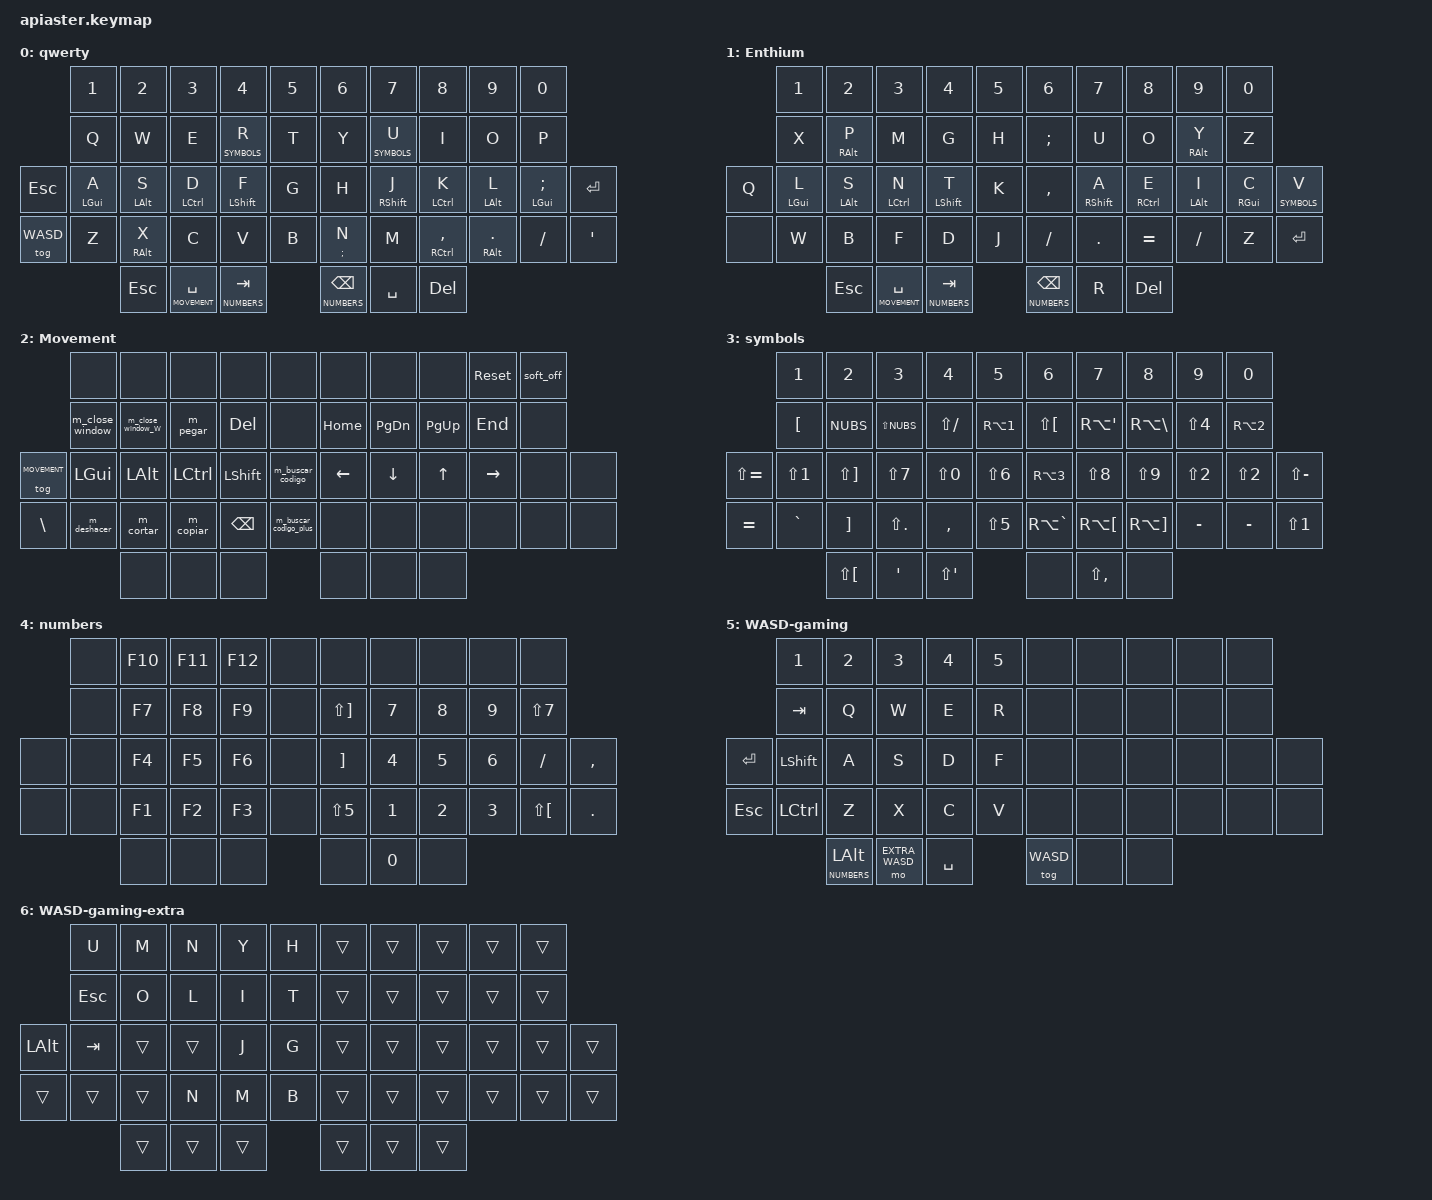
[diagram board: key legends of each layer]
#include <behaviors.dtsi>
#include <behaviors/rgbled_widget.dtsi>
#include <dt-bindings/zmk/keys.h>
#include <dt-bindings/zmk/bt.h>

/* Layers */
#define BASE          0
#define HANDSDOWN_NEU 1 //Promethium https://cyanophage.github.io/playground.html?layout=fpdlx%C3%B1uoybzsnthk%2Caeicqvwgmj-.%27%3D%2F%5Cr&mode=ergo&lan=spanish
#define MOVEMENT      2
#define SYMBOLS       3
#define NUMBERS       4
#define WASD          5
#define EXTRA_WASD    6

/* Layout */
//    0  1  2  3  4      5  6  7  8  9 
//   10 11 12 13 14     15 16 17 18 19 
//20 21 22 23 24 25     26 27 28 29 30 31 
//32 33 34 35 36 37     38 39 40 41 42 43
//         44 45 46     47 48 49

#define KEYS_L 0 1 2 3 4 10 11 12 13 14 20 21 22 23 24 25 32 33 34 35 36 37
#define KEYS_R 5 6 7 8 9 15 16 17 18 19 26 27 28 29 30 31 38 39 40 41 42 43
#define THUMBS_L 44 45 46
#define THUMBS_R 47 48 49



#define DEF_TEST(a) \
        <a>,

#define DEF_TEST_FFF(a) \
        <a>

//TODO hacer que todos los macros, combos, etc sean macros de C. Queda mas limpio y facil de leer
//#define COMBO_DEFAULT_TIMEOUT_ms         30
#define COMBO_DEFAULT_TIMEOUT_ms              30
#define COMBO_FAST_TIMEOUT_ms                100 	/* Tenemos 100ms para pulsar las teclas del combo */
#define COMBO_SLOW_TIMEOUT_ms                 50
#define COMBO_REQUIRE_PRIOR_IDLE_ms          200 	/* Han de pasar 200ms desde la ultima tecla para registrar el combo */
#define COMBO_FAST_REQUIRE_PRIOR_IDLE_ms     100
#define COMBO_SLOW_REQUIRE_PRIOR_IDLE_ms     300
#define COMBO(a, b, c, d, e, f)            \
        combo_##a {                        \
            timeout-ms            = <b>;   \
            key-positions         = <c>;   \
            layers                = <d>;   \
            bindings              = <e>;   \
            require-prior-idle-ms = <f>;   \
        };                                 \
/* fin macro */

#define MACRO(a, b, c)                         \
        macro_##a: macro_##a {                 \
            compatible = "zmk,behavior-macro"; \
            #binding-cells = <b>;              \
            bindings = c;                      \
        };                                     \
/* fin macro */

#define TAP_DANCE(NOMBRE, TAPPING_TERM_ms, A_BINDING, B_BINDING) \
        NOMBRE: tap_dance_##NOMBRE {                             \
            compatible = "zmk,behavior-tap-dance";               \
            #binding-cells = <0>;                                \
            tapping-term-ms = <TAPPING_TERM_ms>;                 \
            bindings = <&kp A_BINDING>, <&kp B_BINDING>;         \
        };                                                       \
/* fin macro */

// NOTA: para en la documentacion pone que hay que usar UNDERSCORE o el caracter que sea,
// pero eso es para el idioma INGLES. Como estamos trabajando en castellano, el caracter
// de barrabaja se escribe con el FSLH del ingles. Por lo tanto, para que funcione como
// queremos, tenemos que poner el caracter que corresponde en ingles.
&caps_word {
    continue-list = <FSLH LS(FSLH) BSPC DEL SQT>;
};

/ {    
    macros {
        //MACRO(change_language, 0, DEF_TEST(&macro_press &kp LGUI &kp SPACE) DEF_TEST_FFF(&macro_release &kp LGUI &kp SPACE))
        //MACRO(flecha_pointer, 0, DEF_TEST(&macro_press &kp FSLH) DEF_TEST(&macro_press &kp LS(NON_US_BACKSLASH)) DEF_TEST(&macro_release &kp FSLH)  DEF_TEST_FFF(&macro_release &kp LS(NON_US_BACKSLASH)))
        change_language: change_language {
            compatible = "zmk,behavior-macro";
            #binding-cells = <0>;
            bindings = <&macro_press   &kp LGUI &kp SPACE>,
                       <&macro_release &kp LGUI &kp SPACE>;
        };

        flecha_pointer: flecha_pointer {
            compatible = "zmk,behavior-macro";
            #binding-cells = <0>;
            bindings = <&macro_press   &kp FSLH >,
                       <&macro_release &kp FSLH >,
                       <&macro_press   &kp LS(NON_US_BACKSLASH) >,
		               <&macro_release &kp LS(NON_US_BACKSLASH) >;
        };
	
        m_copiar: m_copiar {
            compatible = "zmk,behavior-macro";
            #binding-cells = <0>;
            bindings = <&macro_press   &kp LCTRL >,
                       <&macro_press   &kp C >,
                       <&macro_release &kp LCTRL >,
		       <&macro_release &kp C >;
        };
	
        m_cortar: m_cortar {
            compatible = "zmk,behavior-macro";
            #binding-cells = <0>;
            bindings = <&macro_press   &kp LCTRL >,
                       <&macro_press   &kp X >,
                       <&macro_release &kp LCTRL >,
		       <&macro_release &kp X >;
        };

        m_pegar: m_pegar {
            compatible = "zmk,behavior-macro";
            #binding-cells = <0>;
            bindings = <&macro_press   &kp LCTRL >,
                       <&macro_press   &kp V >,
                       <&macro_release &kp LCTRL >,
		       <&macro_release &kp V >;
        };

        m_deshacer: m_deshacer {
            compatible = "zmk,behavior-macro";
            #binding-cells = <0>;
            bindings = <&macro_press   &kp LCTRL >,
                       <&macro_press   &kp Z >,
                       <&macro_release &kp LCTRL >,
		       <&macro_release &kp Z >;
        };

        m_buscar_codigo: m_buscar_codigo {
            compatible = "zmk,behavior-macro";
            #binding-cells = <0>;
            bindings = <&macro_press   &kp LCTRL >,
                       <&macro_press   &kp F >,
                       <&macro_release &kp LCTRL >,
					   <&macro_release &kp F >;
        };
		
        m_buscar_codigo_plus: m_buscar_codigo_plus {
            compatible = "zmk,behavior-macro";
            #binding-cells = <0>;
            bindings = <&macro_press   &kp LCTRL >,
                       <&macro_press   &kp LSHIFT >,
                       <&macro_press   &kp F >,
                       <&macro_release &kp LCTRL >,
                       <&macro_release &kp LSHIFT >,
					   <&macro_release &kp F >;
        };

        m_letras_que: m_letras_que {
            compatible = "zmk,behavior-macro";
            #binding-cells = <0>;
            bindings = <&macro_press   &kp Q >,
                       <&macro_release &kp Q >,
                       <&macro_press   &kp U >,
                       <&macro_release &kp U >,
                       <&macro_press   &kp E >,
		               <&macro_release &kp E >;
        };

        m_test_aaaaa: m_test_aaaaa {
            compatible = "zmk,behavior-macro";
            #binding-cells = <0>;
            bindings = <&macro_press   &kp Q >,
                       <&macro_release &kp Q >,
                       <&macro_press   &kp U >,
                       <&macro_release &kp U >;
        };

	m_tilde: m_tilde {
            compatible = "zmk,behavior-macro";
            #binding-cells = <0>;
            bindings = <&kp SQT >;
        };

	m_tilde_invertida: m_tilde_invertida {
            compatible = "zmk,behavior-macro";
            #binding-cells = <0>;
            bindings = <&kp LBKT >;
        };

	m_acento_circunflejo: m_acento_circunflejo {
            compatible = "zmk,behavior-macro";
            #binding-cells = <0>;
            bindings = <&kp LS(LBKT)>;
        };

        m_close_window: m_close_window {
            compatible = "zmk,behavior-macro";
            #binding-cells = <0>;
            bindings = <&macro_press   &kp LGUI >,
                       <&macro_press   &kp Q >,
                       <&macro_release &kp LGUI >,
		       <&macro_release &kp Q >;
        };

        m_close_window_W: m_close_window_W {
            compatible = "zmk,behavior-macro";
            #binding-cells = <0>;
            bindings = <&macro_press   &kp LCTRL >,
                       <&macro_press   &kp W >,
                       <&macro_release &kp LCTRL >,
		       <&macro_release &kp W >;
        };
    };
    
    ///////////////////////////////////////////////////////////////////////////////////////////////////////////////////////
    /////////////////////////////////////////////////////// COMBOS ////////////////////////////////////////////////////////
    ///////////////////////////////////////////////////////////////////////////////////////////////////////////////////////
    combos {
        compatible = "zmk,combos";
        COMBO(caps_words            , COMBO_DEFAULT_TIMEOUT_ms, 39 40 41, BASE HANDSDOWN_NEU, &caps_word        , COMBO_REQUIRE_PRIOR_IDLE_ms)
        COMBO(hands_down_as_base    , COMBO_DEFAULT_TIMEOUT_ms,    12 40, BASE HANDSDOWN_NEU, &tog HANDSDOWN_NEU, COMBO_REQUIRE_PRIOR_IDLE_ms)
        COMBO(change_language       , COMBO_DEFAULT_TIMEOUT_ms,      0 9, BASE HANDSDOWN_NEU, &change_language  , COMBO_REQUIRE_PRIOR_IDLE_ms)
        COMBO(punto_coma            , COMBO_FAST_TIMEOUT_ms,    23 28, BASE HANDSDOWN_NEU, &kp LS(COMMA)     , COMBO_REQUIRE_PRIOR_IDLE_ms)
        COMBO(flecha_prog           , COMBO_FAST_TIMEOUT_ms,    14 15, BASE HANDSDOWN_NEU, &flecha_pointer   , 200)
        COMBO(dos_puntos            , COMBO_FAST_TIMEOUT_ms,    24 27, BASE HANDSDOWN_NEU, &kp LS(DOT)       , COMBO_REQUIRE_PRIOR_IDLE_ms)
        COMBO(barra_baja            , COMBO_FAST_TIMEOUT_ms,    36 39, BASE HANDSDOWN_NEU, &kp LS(FSLH)      , COMBO_FAST_REQUIRE_PRIOR_IDLE_ms)
        COMBO(igual                 , COMBO_FAST_TIMEOUT_ms,    25 26, BASE HANDSDOWN_NEU, &kp LS(N0)        , COMBO_REQUIRE_PRIOR_IDLE_ms)
        COMBO(apertura_pregunta     , COMBO_DEFAULT_TIMEOUT_ms,    13 14, BASE HANDSDOWN_NEU, &kp LS(EQUAL)     , COMBO_REQUIRE_PRIOR_IDLE_ms)
        COMBO(apertura_exclama      , COMBO_DEFAULT_TIMEOUT_ms,    36 37, BASE HANDSDOWN_NEU, &kp EQUAL         , COMBO_REQUIRE_PRIOR_IDLE_ms)
        COMBO(cierre_pregunta       , COMBO_DEFAULT_TIMEOUT_ms,    15 16, BASE HANDSDOWN_NEU, &kp LS(MINUS)     , COMBO_REQUIRE_PRIOR_IDLE_ms)
        COMBO(cierre_exclama        , COMBO_DEFAULT_TIMEOUT_ms,    38 39, BASE HANDSDOWN_NEU, &kp LS(N1)        , COMBO_REQUIRE_PRIOR_IDLE_ms)
        COMBO(copy                  , COMBO_DEFAULT_TIMEOUT_ms,    34 35, BASE HANDSDOWN_NEU, &m_copiar         , COMBO_REQUIRE_PRIOR_IDLE_ms)
        COMBO(cut                   , COMBO_DEFAULT_TIMEOUT_ms,    33 34, BASE HANDSDOWN_NEU, &m_cortar         , COMBO_REQUIRE_PRIOR_IDLE_ms)
        COMBO(paste                 , COMBO_DEFAULT_TIMEOUT_ms,    11 12, BASE HANDSDOWN_NEU, &m_pegar          , COMBO_REQUIRE_PRIOR_IDLE_ms)
        COMBO(contra_barra          , COMBO_DEFAULT_TIMEOUT_ms,    23 24,            SYMBOLS, &kp RA(GRAVE)     , COMBO_REQUIRE_PRIOR_IDLE_ms)

        /////////////////////////////
        // COMBOS QWERTY
        /////////////////////////////
        COMBO(print_screen              , COMBO_DEFAULT_TIMEOUT_ms,   8 9, BASE, &kp PRINTSCREEN      , COMBO_REQUIRE_PRIOR_IDLE_ms)
        COMBO(qwerty_tilde              , 50, 17 18, BASE, &m_tilde  	        , COMBO_REQUIRE_PRIOR_IDLE_ms)
        //COMBO(qwerty_tilde_2            , 50, 40 41, BASE, &m_tilde  	        )
        COMBO(qwerty_tilde_invertida    , 50, 40 41, BASE, &m_tilde_invertida   , COMBO_REQUIRE_PRIOR_IDLE_ms)
        COMBO(qwerty_acento_circunflejo , 50, 16 17, BASE, &m_acento_circunflejo, COMBO_REQUIRE_PRIOR_IDLE_ms)
        //COMBO(qwerty_q,      50,    11 12, BASE, &kp Q)
        //COMBO(qwerty_copiar, 50,    12 13, BASE, &m_copiar)
        //COMBO(qwerty_cortar, 50,    13 14, BASE, &m_cortar)
        //COMBO(qwerty_pegar,  50,    11 12, BASE, &m_pegar)

        /////////////////////////////
        // COMBOS HANDS DOWN VIBRANIUM
        /////////////////////////////
        COMBO(handsdown_Q                  , 50, 11 12, HANDSDOWN_NEU     , &kp Z 		 , COMBO_REQUIRE_PRIOR_IDLE_ms)
        COMBO(handsdown_B                  , 50, 16 17, HANDSDOWN_NEU     , &kp B 		 , COMBO_REQUIRE_PRIOR_IDLE_ms)
        //COMBO(handsdown_Qu                 , 50, 12 13, HANDSDOWN_NEU     , &qu_hold_tap Q 0     )
        COMBO(handsdown_Z                  , 50, 11 13, HANDSDOWN_NEU     , &kp Q    	 	 , COMBO_REQUIRE_PRIOR_IDLE_ms)
        //COMBO(handsdown_tilde              , 50, 27 28, BASE HANDSDOWN_NEU, &m_tilde  	         )
        //COMBO(handsdown_tilde_invertida    , 50, 28 29, BASE HANDSDOWN_NEU, &m_tilde_invertida   )
        //COMBO(handsdown_acento_circunflejo , 50, 27 29, BASE HANDSDOWN_NEU, &m_acento_circunflejo)

        /////////////////////////////
        // COMBOS SYMBOL LAYER
        /////////////////////////////
        COMBO(symb_asterisco               , 50, 16 17, SYMBOLS            , &kp LS(RIGHT_BRACKET), COMBO_REQUIRE_PRIOR_IDLE_ms)

        COMBO(symb_contrabarra             , 50, 26 27, SYMBOLS            , &kp RA(GRAVE)        , COMBO_REQUIRE_PRIOR_IDLE_ms)
        COMBO(symb_cierre_parentesis       , 50, 27 28, SYMBOLS            , &kp LS(N9)           , COMBO_REQUIRE_PRIOR_IDLE_ms)
        COMBO(symb_cierre_corchete         , 50, 28 29, SYMBOLS            , &kp RA(RIGHT_BRACKET), COMBO_REQUIRE_PRIOR_IDLE_ms)
        COMBO(symb_cierre_curly_corchete   , 50, 27 29, SYMBOLS            , &kp RA(BACKSLASH)    , COMBO_REQUIRE_PRIOR_IDLE_ms)

        COMBO(symb_comillas_dobles         , 50, 39 40, SYMBOLS            , &kp LS(N2)           , COMBO_REQUIRE_PRIOR_IDLE_ms)



    /* Layout */
    //    0  1  2  3  4      5  6  7  8  9 
    //   10 11 12 13 14     15 16 17 18 19 
    //20 21 22 23 24 25     26 27 28 29 30 31 
    //32 33 34 35 36 37     38 39 40 41 42 43
    //         44 45 46     47 48 49
    };

    behaviors {
        td_layer_toggle: hold_tap_layer_toggle {
            compatible = "zmk,behavior-tap-dance";
            #binding-cells = <0>;
            tapping-term-ms = <150>;
            bindings = <&kp Q>, <&tog 3>;
        };

        hl: home_row_hold_tap_left {
            compatible = "zmk,behavior-hold-tap";
            #binding-cells = <2>;
            flavor = "balanced";
            tapping-term-ms = <200>;
            quick-tap-ms = <175>;                // repeat on tap-into-hold
            require-prior-idle-ms = <100>;
            bindings = <&kp>, <&kp>;
            hold-trigger-key-positions = <KEYS_R THUMBS_R>;
            hold-trigger-on-release;             // delay positional check until key-release
        };

        hr: home_row_hold_tap_right {
            compatible = "zmk,behavior-hold-tap";
            #binding-cells = <2>;
            flavor = "balanced";
            tapping-term-ms = <200>;
            quick-tap-ms = <175>;                // repeat on tap-into-hold
            require-prior-idle-ms = <100>;
            bindings = <&kp>, <&kp>;
            hold-trigger-key-positions = <KEYS_L THUMBS_L>;
            hold-trigger-on-release;             // delay positional check until key-release
        };

        lt: layer_tap {
            compatible      = "zmk,behavior-hold-tap";
            #binding-cells  = <2>;
            flavor          = "balanced";
            tapping-term-ms = <200>;
            quick-tap-ms    = <175>;       // Hace que si hacemos un dos taps y dejamos pulsado, se utilice la tecla normal y no el cambio de capa
            bindings        = <&mo>, <&kp>;
            display-name    = "Layer-Tap";
        };

        tog_on: toggle_layer_on_only {
            compatible = "zmk,behavior-toggle-layer";
            #binding-cells = <1>;
            display-name = "Toggle layer ON";
            //toggle-mode = "on";
        };

        mt_que: mod_tap_que {
            compatible = "zmk,behavior-hold-tap";
            #binding-cells = <2>;
            flavor = "tap-preferred";
            tapping-term-ms = <200>;
            bindings = <&kp>, <&kp>;
            display-name = "Mod-Tap";
        };

        qu_hold_tap: qu_hold_tap {
            compatible      = "zmk,behavior-hold-tap";
            display-name    = "QU Hold Tap";
            #binding-cells  = <2>;
            flavor          = "hold-preferred";
            tapping-term-ms = <200>;
            bindings        = <&kp>, <&m_test_aaaaa>;
        };

    ///////////////////////////////////////////////////////////
    // TAP DANCE SYMBOL LAYER 
    ///////////////////////////////////////////////////////////
        TAP_DANCE(td_parentesis     , 200, LS(N8)      , LS(N9))
        TAP_DANCE(td_brackets       , 200, RA(LBKT)    , RA(RBKT))
        TAP_DANCE(td_menorque       , 200, NUBS        , LS(NUBS))
        TAP_DANCE(td_exclamaciones  , 200, EQUAL       , LS(N1))
        TAP_DANCE(td_interrogante   , 200, LS(EQUAL)   , LS(MINUS))
        TAP_DANCE(td_puntos         , 200, DOT         , LS(DOT))
        TAP_DANCE(td_coma           , 200, COMMA       , LS(COMMA))
        TAP_DANCE(td_guion          , 200, SLASH       , LS(SLASH))
        TAP_DANCE(td_buscar_vim     , 200, LS(RBRC)    , RA(N3))
        TAP_DANCE(td_marcas_vim     , 200, LS(N2)      , MINUS)
        TAP_DANCE(td_fwdslash       , 200, LS(N7)      , RA(GRAVE))
        TAP_DANCE(td_pipe           , 200, RA(N1)      , RA(N2))
        TAP_DANCE(td_porcentaje     , 200, LS(N5)      , LS(N4))
        TAP_DANCE(td_masmenos       , 200, RBKT        , SLASH)

    ///////////////////////////////////////////////////////////
    // TAP DANCE HANDS DOWN CONFIG
    ///////////////////////////////////////////////////////////
        //td_masmenos: tap_dance_masmenos {
        //    compatible = "zmk,behavior-tap-dance";
        //    label = "tap_dance_masmenos";
        //    #binding-cells = <0>;
        //    tapping-term-ms = <200>;
        //    bindings = <&kp SLASH>, <&kp RBRC>;
        //};

        td_hashtag_arroba: tap_dance_hashtag_arroba {
            compatible = "zmk,behavior-tap-dance";
            label = "tap_dance_hashtag_arroba";
            #binding-cells = <0>;
            tapping-term-ms = <200>;
            bindings = <&kp LC(RA(N3))>, <&kp LC(RA(N2))>;
        };
 
        td_div_asterisco: tap_dance_div_asterisco {
            compatible = "zmk,behavior-tap-dance";
            label = "tap_dance_div_asterisco";
            #binding-cells = <0>;
            tapping-term-ms = <200>;
            bindings = <&kp LS(N7)>, <&kp LS(RBRC)>;
        };

        td_comillas_exclamacion: tap_dance_comillas_exclamacion {
            compatible = "zmk,behavior-tap-dance";
            label = "tap_dance_comillas_exclamacion";
            #binding-cells = <0>;
            tapping-term-ms = <200>;
            bindings = <&kp LS(N2)>, <&kp LS(N1)>;
        };

        td_comilla_simple_interrogacion: tap_dance_comilla_simple_interrogacion {
            compatible = "zmk,behavior-tap-dance";
            label = "tap_dance_comilla_simple_interrogacion";
            #binding-cells = <0>;
            tapping-term-ms = <200>;
            bindings = <&kp MINUS>, <&kp LS(MINUS)>;
        };

    };


    /////////////////////////////////////////////////////////////////////////////////////////
    //////////////////////////////////////// LAYERS /////////////////////////////////////////
    /////////////////////////////////////////////////////////////////////////////////////////
    keymap {
        compatible = "zmk,keymap";

        QWERTY_layer {
            display-name = "qwerty";
// ------------------------------------------------------------------------------------------------------------
//         |   1   |   2   |    3    |   4    |   5   |              |  6  |   7    |    8    |   9   |   0   |       
//         |   Q   |   W   |    E    |   R    |   T   |              |  Y  |   U    |    I    |   O   |   P   |        
// |  TAB  | ALT/A | GUI/S | SHIFT/D | CTRL/F |   G   |              |  H  | CTRL/J | SHIFT/K | GUI/L | ALT/; | ENTER |
// |   \   |   Z   |   X   |    C    |   V    |   B   |              |  N  |   M    |    ,    |   .   |   /   |   '   |
//                                      | LOWER  | SPACE | ESC |  | DEL |BACK | RAISE  | 
            bindings = <
                   &kp N1       &kp N2     &kp N3             &kp N4             &kp N5            /*||*/    &kp N6              &kp N7           &kp N8            &kp N9          &kp N0
                   &kp Q        &kp W      &kp E              &lt SYMBOLS R      &kp T             /*||*/    &kp Y               &lt SYMBOLS U    &kp I             &kp O           &kp P
&kp ESC            &hl LGUI A   &hl LALT S &hl LCTRL D        &hl LSHFT F        &kp G             /*||*/    &kp H               &hr RSHFT J      &hr LCTRL K       &hr LALT L      &hr LGUI SEMI      &kp ENTER
&tog WASD          &kp Z        &hl RALT X &kp C              &kp V              &kp B             /*||*/    &mt_que SEMI N      &kp M            &hr RCTRL COMMA   &hr RALT DOT    &kp FSLH           &kp SQT
                                &kp ESC    &lt MOVEMENT SPACE &lt NUMBERS TAB                      /*||*/    &lt NUMBERS BSPC    &kp SPACE        &kp DEL

                    >;
                };

//        HANDS_DOWN_layer {
//            display-name = "Handsdown Vibranium V";
//            bindings = <
//          &kp N1     &kp N2     &kp N3           &kp N4             &kp N5            /*||*/   &kp N6           &kp N7             &kp N8             &kp N9      &kp N0
//          &kp H      &hl RALT P &kp M            &kp G              &kp X             /*||*/   &kp DOT          &kp U              &kp O              &hr RALT Y  &kp B
//&kp TAB   &hl LGUI L &hl LALT S &hl LCTRL N      &hl LSHIFT T       &kp K             /*||*/   &kp B            &hr RSHFT A        &hr RCTRL E        &hr LALT I  &hr RGUI C  &kp ENTER
//&kp CAPS  &kp V      &kp W      &kp F            &kp D              &kp J             /*||*/   &kp FSLH         &kp COMMA          &kp SEMI           &kp Q       &kp Z       &kp ENTER
//                                &lt MOVEMENT ESC &lt SYMBOLS SPACE  &lt NUMBERS TAB   /*||*/   &lt NUMBERS BSPC &lt SYMBOLS R      &lt MOVEMENT DEL
//                    >;
//                };

        ENTHIUM_LAYER {
            display-name = "Enthium";
            bindings = <
          &kp N1     &kp N2     &kp N3           &kp N4             &kp N5            /*||*/   &kp N6           &kp N7        &kp N8             &kp N9      &kp N0
          &kp X      &hl RALT P &kp M            &kp G              &kp H             /*||*/   &kp SEMI         &kp U         &kp O              &hr RALT Y  &kp Z
&kp Q     &hl LGUI L &hl LALT S &hl LCTRL N      &hl LSHIFT T       &kp K             /*||*/   &kp COMMA        &hr RSHFT A   &hr RCTRL E        &hr LALT I  &hr RGUI C  &lt SYMBOLS V
&none     &kp W      &kp B      &kp F            &kp D              &kp J             /*||*/   &kp FSLH         &kp DOT       &kp EQUAL          &kp FSLH    &kp Z       &kp ENTER
                                &kp ESC          &lt MOVEMENT SPACE &lt NUMBERS TAB   /*||*/   &lt NUMBERS BSPC &kp R         &kp DEL
                    >;
                };

//        HANDS_DOWN_layer {
//            display-name = "hands down inverted vibranium";
//            bindings = <
//            &kp N1     &kp N2     &kp N3           &kp N4            &kp N5                /*||*/   &kp N6              &kp N7             &kp N8                  &kp N9                    &kp N0
//            &kp B      &hl RALT P &kp L            &kp D             &kp V                 /*||*/   &td_hashtag_arroba  &kp U              &kp O                   &hr RALT Y                &kp F
//&kp TAB     &hl LGUI S &hl LALT C &hl LCTRL N      &hl LSHIFT T      &kp K                 /*||*/   &kp COMMA           &hr RSHFT A        &hr RCTRL E             &hr LALT I                &hr RGUI H       		     &kp ENTER
//&caps_word  &kp X      &kp W      &kp M            &kp G             &kp J                 /*||*/   &kp FSLH            &kp DOT            &td_div_asterisco       &td_comillas_exclamacion  &td_comilla_simple_interrogacion &kp ENTER
//                                  &lt MOVEMENT ESC &lt SYMBOLS R     &lt NUMBERS ENTER     /*||*/   &lt NUMBERS BSPC   &lt SYMBOLS SPACE   &lt MOVEMENT DEL
//
//                    >;
//                };

//        HANDS_DOWN_layer {
//            display-name = "hands down neu";
// ------------------------------------------------------------------------------------------------------------
//         |   1   |   2   |    3    |   4    |   5   |              |  6  |   7    |    8    |   9   |   0   |       
//         |   Q   |   W   |    E    |   R    |   T   |              |  Y  |   U    |    I    |   O   |   P   |        
// |  TAB  | ALT/A | GUI/S | SHIFT/D | CTRL/F |   G   |              |  H  | CTRL/J | SHIFT/K | GUI/L | ALT/; | ENTER |
// |   \   |   Z   |   X   |    C    |   V    |   B   |              |  N  |   M    |    ,    |   .   |   /   |   '   |
//                                      | LOWER  | SPACE | ESC |  | DEL |BACK | RAISE  | 
//            bindings = <
//            &kp N1     &kp N2     &kp N3           &kp N4            &kp N5                &kp N6              &kp N7           &kp N8      &kp N9     &kp N0
//            &kp W      &kp F      &kp M            &kp P             &kp V                 &kp FSLH            &kp DOT          &kp Q       &kp SEMI   &kp APOSTROPHE
//&kp TAB     &hl LGUI R &hl LALT S &hl LCTRL N      &hl LSHIFT T      &kp B                 &kp COMMA           &hr RSHFT A      &hr RCTRL E &hr LALT I &hr RGUI H    &kp J
//&caps_word  &kp X      &kp C      &kp L            &kp D             &kp G                 &kp FSLH            &kp U            &kp O       &hr RALT Y &kp K         &kp Z
//                                  &lt MOVEMENT ESC &lt SYMBOLS SPACE &lt NUMBERS TAB       &lt NUMBERS ENTER   &lt SYMBOLS BSPC &lt MOVEMENT DEL
//
//                    >;
//                };

//        COLEMAK_dh_layer {
//            display-name = "colemak dh";
//// ------------------------------------------------------------------------------------------------------------
////         |   1   |   2   |    3    |   4    |   5   |              |  6  |   7    |    8    |   9   |   0   |       
////         |   Q   |   W   |    E    |   R    |   T   |              |  Y  |   U    |    I    |   O   |   P   |        
//// |  TAB  | ALT/A | GUI/S | SHIFT/D | CTRL/F |   G   |              |  H  | CTRL/J | SHIFT/K | GUI/L | ALT/; | ENTER |
//// |   \   |   Z   |   X   |    C    |   V    |   B   |              |  N  |   M    |    ,    |   .   |   /   |   '   |
////                                      | LOWER  | SPACE | ESC |  | DEL |BACK | RAISE  | 
//            bindings = <
//            &kp N1     &kp N2     &kp N3           &kp N4            &kp N5                &kp N6              &kp N7           &kp N8      &kp N9     &kp N0
//            &kp Q      &kp W      &kp F            &kp P             &kp B                 &kp J               &kp L            &kp U       &kp Y      &kp SEMI
//&kp TAB     &hl LGUI A &hl LALT R &hl LCTRL S      &hl LSHIFT T      &kp G                 &kp M               &hr RSHFT N      &hr RCTRL E &hr RALT I &hr RGUI O    &kp ENTER
//&caps_word  &kp Z      &kp X      &kp C            &kp D             &kp V                 &kp K               &kp H            &kp COMMA   &kp DOT    &kp FSLH      &kp Z
//                                  &lt MOVEMENT ESC &lt SYMBOLS SPACE &lt NUMBERS TAB       &lt NUMBERS ENTER   &lt SYMBOLS BSPC &lt MOVEMENT DEL
//
//                    >;
//                };

        MOVEMENT_layer {
            display-name = "Movement";
// ------------------------------------------------------------------------------------------------------------
//         | MUTE | VOL+   |  VOL-   | BRI+        |  BRI-  |                |  BT 0 | BT 1 |  BT 2 | BT 3 | BT 4     | 
//         | PREV | REWIND | PAUSE   | FASTFORWARD |  NEXT  |                | PGUP  | HOME |   ^   | END  | BT CLEAR |       
// | reset | CAPS | INS    | PRNTSCR | MENU        | studio |                | PGDN  |   <- |   v   |  ->  |  off     | reset |
// |       |      |        |         | QWERTY      |  boot  |                | boot  |      |       |      |  POWER   | reset |
//                                   |             |        |      |  |      |       |      |
//            bindings = <
//        &none      &none    &none     &none      &none              &kp PAGE_DOWN   &kp HOME        &none         &kp END          &kp PAGE_UP 
//        &none      &none    &none     &none      &none              &kp LEFT_ARROW  &kp DOWN_ARROW  &kp UP_ARROW  &kp RIGHT_ARROW  &none 
//&kp TAB &kp LGUI   &kp LALT &kp LCTRL &kp LSHFT  &none              &none           &none           &none         &none            &none       &none 
//&none   &kp N6     &kp Q    &kp W     &kp E      &kp R              &none           &none           &none         &none            &none       &none
//                            &none     &none      &none              &none           &kp BACK        &kp DEL
//            >;
            bindings = <
              &none           &none             &none      &none      &none                  &none             &none            &none           &sys_reset       &soft_off
              &m_close_window &m_close_window_W &m_pegar   &kp DEL    &none                  &kp HOME          &kp PAGE_DOWN    &kp PAGE_UP     &kp END          &none 
&tog MOVEMENT &kp LGUI        &kp LALT          &kp LCTRL  &kp LSHFT  &m_buscar_codigo 	     &kp LEFT_ARROW    &kp DOWN_ARROW   &kp UP_ARROW    &kp RIGHT_ARROW  &none         &none
&kp BSLH      &m_deshacer     &m_cortar         &m_copiar  &kp BSPC   &m_buscar_codigo_plus  &none             &none            &none           &none            &none         &none
                                                &none      &none      &none                  &none             &none            &none
                    >;
        };
/*         SYMBOLS_layer { */
/*             display-name = "symbols"; */
/*         // ------------------------------------------------------------------------------------------------------------ */
/*         //         | MUTE | VOL+   |  VOL-   | BRI+        |  BRI-  |                |  BT 0 | BT 1 |  BT 2 | BT 3 | BT 4     |  */
/*         //         | PREV | REWIND | PAUSE   | FASTFORWARD |  NEXT  |                | PGUP  | HOME |   ^   | END  | BT CLEAR |        */
/* // | reset | CAPS | INS    | PRNTSCR | MENU        | studio |                | PGDN  |   <- |   v   |  ->  |  off     | reset | */
/* // |       |      |        |         | QWERTY      |  boot  |                | boot  |      |       |      |  POWER   | reset | */
/* //                                   |             |        |      |  |      |       |      | */
/*             bindings = < */
/*           //&kp N1        &kp N2             &kp N3               &kp N4          &kp N5                     &kp RA(N4)        &td_fwdslash   &kp LS(N6)   &kp N9         &kp N0  */
/*           //&kp GRAVE     &kp RA(N4)         &kp LS(N0)           &kp LS(N0)      &kp NON_US_BACKSLASH       &td_interrogante  &td_brackets   &td_puntos   &td_marcas_vim &kp RA(N2)  */
/* //&none   &kp LS(EQUAL) &kp RA(APOSTROPHE) &kp RA(LEFT_BRACKET) &kp LS(N8)      &kp LS(N7)                 &td_exclamaciones &td_parentesis &td_coma     &td_buscar_vim &td_porcentaje  &none  */
/* //&none   &kp EQUAL     &kp LS(N6)         &kp LS(N4)           &kp LS(N5)      &kp RA(N1)                 &td_fwdslash      &td_cbrackets  &td_menorque &td_pipe       &kp LS(N1)         &none */
/*                                           //&kp LS(LEFT_BRACKET) &kp APOSTROPHE  &kp LS(APOSTROPHE)         &kp LS(N0)        &td_guion      &td_masmenos */
/**/
/*           &kp N1        &kp N2             &kp N3               &kp N4          &kp N5                     &kp N6                    &kp N7        &kp N8                &kp N9            &kp N0  */
/*           &kp GRAVE     &kp RA(N4)         &kp LS(N6)           &kp LS(N0)      &kp NON_US_BACKSLASH       &kp LS(NON_US_BACKSLASH)  &kp RBKT      &kp LS(RBKT)                &kp RA(N3)        &kp RA(N2)  */
/* &none     &kp LS(EQUAL) &kp RA(APOSTROPHE) &kp RA(LEFT_BRACKET) &kp LS(N8)      &kp LS(N7)                 &kp RA(GRAVE)             &kp LS(N9)    &kp RA(RIGHT_BRACKET) &kp RA(BACKSLASH) &kp LS(MINUS)  &none  */
/* &none     &kp EQUAL     &kp LS(N6)         &kp LS(N4)           &kp LS(N5)      &kp RA(N1)                 &kp LS(N2)                &kp MINUS     &kp LEFT_BRACKET      &kp APOSTROPHE    &kp LS(N1)     &none */
/*                                            &kp LS(LEFT_BRACKET) &kp APOSTROPHE  &kp LS(APOSTROPHE)         &none                     &kp LS(COMMA) &none                                  */
                                       
        /*     >; */
        /* }; */

        SYMBOLS_layer {
            display-name = "symbols";
        // ------------------------------------------------------------------------------------------------------------
        //         | MUTE | VOL+   |  VOL-   | BRI+        |  BRI-  |                |  BT 0 | BT 1 |  BT 2 | BT 3 | BT 4     | 
        //         | PREV | REWIND | PAUSE   | FASTFORWARD |  NEXT  |                | PGUP  | HOME |   ^   | END  | BT CLEAR |       
// | reset | CAPS | INS    | PRNTSCR | MENU        | studio |                | PGDN  |   <- |   v   |  ->  |  off     | reset |
// |       |      |        |         | QWERTY      |  boot  |                | boot  |      |       |      |  POWER   | reset |
//                                   |             |        |      |  |      |       |      |
            bindings = <
          //&kp N1        &kp N2             &kp N3               &kp N4          &kp N5                     &kp RA(N4)        &td_fwdslash   &kp LS(N6)   &kp N9         &kp N0 
          //&kp GRAVE     &kp RA(N4)         &kp LS(N0)           &kp LS(N0)      &kp NON_US_BACKSLASH       &td_interrogante  &td_brackets   &td_puntos   &td_marcas_vim &kp RA(N2) 
//&none   &kp LS(EQUAL) &kp RA(APOSTROPHE) &kp RA(LEFT_BRACKET) &kp LS(N8)      &kp LS(N7)                 &td_exclamaciones &td_parentesis &td_coma     &td_buscar_vim &td_porcentaje  &none 
//&none   &kp EQUAL     &kp LS(N6)         &kp LS(N4)           &kp LS(N5)      &kp RA(N1)                 &td_fwdslash      &td_cbrackets  &td_menorque &td_pipe       &kp LS(N1)         &none
                                          //&kp LS(LEFT_BRACKET) &kp APOSTROPHE  &kp LS(APOSTROPHE)         &kp LS(N0)        &td_guion      &td_masmenos

               &kp N1        &kp N2       &kp N3               &kp N4          &kp N5       /**/  &kp N6        &kp N7             &kp N8            &kp N9        &kp N0 
               &kp LBKT      &kp NUBS     &kp LS(NUBS)         &kp LS(SLASH)   &kp RA(N1)   /**/  &kp LS(LBKT)  &kp RA(APOSTROPHE) &kp RA(BACKSLASH) &kp LS(N4)    &kp RA(N2) 
&kp LS(EQUAL)  &kp LS(N1)    &kp LS(RBKT) &kp LS(N7)           &kp LS(N0)      &kp LS(N6)   /**/  &kp RA(N3)    &kp LS(N8)         &kp LS(N9)        &kp LS(N2)    &kp LS(N2) &kp LS(MINUS)
&kp EQUAL      &kp GRAVE     &kp RBKT     &kp LS(DOT)          &kp COMMA       &kp LS(N5)   /**/  &kp RA(GRAVE) &kp RA(LBKT)       &kp RA(RBKT)      &kp MINUS     &kp MINUS  &kp LS(N1)
                                  &kp LS(LEFT_BRACKET) &kp APOSTROPHE  &kp LS(APOSTROPHE)   /**/  &none         &kp LS(COMMA)      &none                                 
                                       
            >;
        };

        NUMBERS_layer {
            display-name = "numbers";
// ------------------------------------------------------------------------------------------------------------
//         |      |         |        |         |        |                |       |       |       |       |       | 
//         |      |   F7    |   F8   |   F9    |        |                |   *   |   7   |   8   |   9   |   /   |           
// |       |      |   F4    |   F5   |   F6    |        |                |   +   |   4   |   5   |   6   |   -   |   ,   |
// |       |      |   F1    |   F2   |   F3    |        |                |   %   |   1   |   2   |   3   |   ^   |   .   |
//                          |        |         |        |      |  |      |       |   0   |       |
            bindings = <
          &none     &kp F10    &kp F11 &kp F12 &none       &none         &none    &none    &none     &none 
          &none     &kp F7     &kp F8  &kp F9  &none       &kp LS(RBKT)  &kp N7   &kp N8   &kp N9    &kp LS(N7)
&none     &none     &kp F4     &kp F5  &kp F6  &none       &kp RBKT      &kp N4   &kp N5   &kp N6    &kp SLASH    &kp COMMA
&none     &none     &kp F1     &kp F2  &kp F3  &none       &kp LS(N5)    &kp N1   &kp N2   &kp N3    &kp LS(LBKT) &kp DOT
                               &none   &none   &none       &none         &kp N0   &none
            >;
        };

        WASD_layer {
            display-name = "WASD-gaming";
// ------------------------------------------------------------------------------------------------------------
//         | MUTE | VOL+   |  VOL-   | BRI+        |  BRI-  |                |  BT 0 | BT 1 |  BT 2 | BT 3 | BT 4     | 
//         | PREV | REWIND | PAUSE   | FASTFORWARD |  NEXT  |                | PGUP  | HOME |   ^   | END  | BT CLEAR |       
// | reset | CAPS | INS    | PRNTSCR | MENU        | studio |                | PGDN  |   <- |   v   |  ->  |  off     | reset |
// |       |      |        |         | QWERTY      |  boot  |                | boot  |      |       |      |  POWER   | reset |
//                                   |             |        |      |  |      |       |      |
            bindings = <
          &kp N1     &kp N2   &kp N3           &kp N4         &kp N5                            &none       &none  &none  &none  &none 
          &kp TAB    &kp Q    &kp W            &kp E          &kp R                             &none       &none  &none  &none  &none 
&kp ENTER &kp LSHFT  &kp A    &kp S            &kp D          &kp F                             &none       &none  &none  &none  &none &none 
&kp ESC   &kp LCTRL  &kp Z    &kp X            &kp C          &kp V                             &none       &none  &none  &none  &none &none 
                              &lt NUMBERS LALT &mo EXTRA_WASD &kp SPACE                         &tog WASD   &none  &none 
            >;
        };

        EXTRA_WASD_layer {
            display-name = "WASD-gaming-extra";
// ---------------------------------------------------
//         |      |       |     |   Y  |  H   |     
//         |      |       |     |   I  |  T   |           
// |  ALT  |      |       |     |   J  |  G   |  
// |       |      |       |     |   M  |  B   |  
//                              |      |      |        |    
            bindings = <
          &kp U      &kp M    &kp N    &kp Y    &kp H                  &trans    &trans  &trans  &trans  &trans  
          &kp ESC    &kp O    &kp L    &kp I    &kp T                  &trans    &trans  &trans  &trans  &trans  
&kp LALT  &kp TAB    &trans   &trans   &kp J    &kp G                  &trans    &trans  &trans  &trans  &trans   &trans  
&trans    &trans     &trans   &kp N    &kp M    &kp B                  &trans    &trans  &trans  &trans  &trans   &trans  
                              &trans   &trans   &trans                 &trans    &trans  &trans
            >;
        };

        extra4 {
            status = "reserved";
        };

        extra5 {
            status = "reserved";
        };
    };
};
